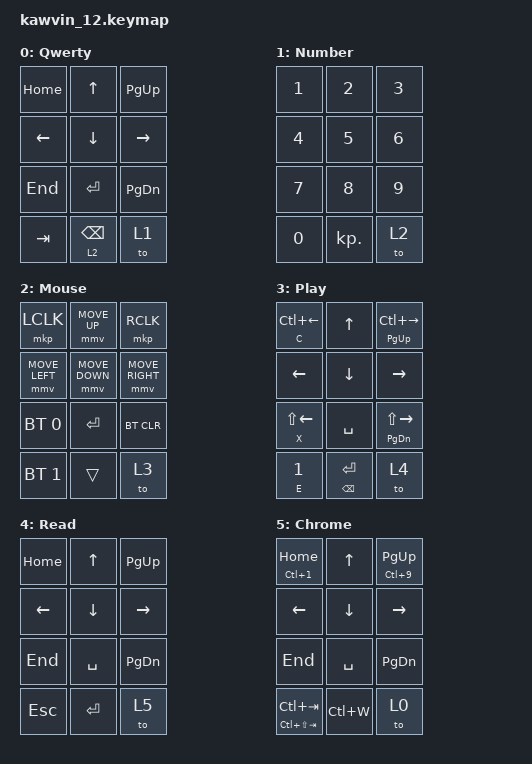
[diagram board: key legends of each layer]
/*
 * Copyright (c) 2023 The ZMK Contributors
 *
 * SPDX-License-Identifier: MIT
 */

#include <behaviors/mouse_keys.dtsi>
#include <behaviors.dtsi>
#include <dt-bindings/zmk/bt.h>
#include <dt-bindings/zmk/ext_power.h>
#include <dt-bindings/zmk/keys.h>
#include <dt-bindings/zmk/mouse.h>
#include <dt-bindings/zmk/outputs.h>
#include <dt-bindings/zmk/pointing.h>



// 鼠标灵敏度（只定义一次！）

#define ZMK_MOUSE_DEFAULT_MOVE_VAL 1200
#define ZMK_MOUSE_DEFAULT_SCRL_VAL 20

// 鼠标快捷宏（必须放在头文件之后！）

#define U_MS_U &mmv MOVE_UP
#define U_MS_D &mmv MOVE_DOWN
#define U_MS_L &mmv MOVE_LEFT
#define U_MS_R &mmv MOVE_RIGHT

/ {
    behaviors {
        hm: homerow_mods {
            compatible = "zmk,behavior-hold-tap";
            label = "HOMEROW_MODS";
            bindings = <&kp>, <&kp>;

            #binding-cells = <2>;
            tapping-term-ms = <200>;
            quick-tap-ms = <180>;
            flavor = "tap-preferred";
        };

        ltq: ltq {
            compatible = "zmk,behavior-hold-tap";
            label = "LTQ";
            bindings = <&mo>, <&kp>;

            #binding-cells = <2>;
            tapping-term-ms = <300>;
            quick-tap-ms = <180>;
            flavor = "tap-preferred";
        };
    };

    combos {
        compatible = "zmk,combos";

        // 同时按 0 + 1 → ESC

        esc_01 {
            bindings = <&kp ESC>;
            key-positions = <0 1>;
            timeout-ms = <200>;
        };

        // 同时按 1 + 2 → ESC

        esc_02 {
            bindings = <&kp ESC>;
            key-positions = <1 2>;
            timeout-ms = <200>;
        };

        // 在2、5层同时按 2 + 9 → bootloader
        flash {
            bindings = <&bootloader>;
            key-positions = <2 9>;
            timeout-ms = <200>;
            layers = <2 5>;
        };
    };

    macros {
        potplay_c5: potplay_c5 {
            compatible = "zmk,behavior-macro";
            #binding-cells = <0>;
            bindings = <&kp C &kp C &kp C &kp C &kp C>;
            label = "POTPLAY_C5";
        };

        potplay_x5: potplay_x5 {
            compatible = "zmk,behavior-macro";
            #binding-cells = <0>;
            bindings = <&kp X &kp X &kp X &kp X &kp X>;
            label = "POTPLAY_X5";
        };
    };

    keymap {
        compatible = "zmk,keymap";

        qwerty_layer {
            //  ---------------------------------------------------------------------------------
            //  |HOME|UP         |PG_UP|
            //  |LEFT|DOWN       |RIGHT|
            //  |END |ENTER      |PG_DN|
            //  |TAB |&ltq 2 BSPC|&to 1|

            bindings = <
                &kp HOME  &kp UP       &kp PG_UP  
                &kp LEFT  &kp DOWN     &kp RIGHT  
                &kp END   &kp ENTER    &kp PG_DN  
                &kp TAB   &ltq 2 BSPC  &to 1      
            >;

            label = "Qwerty";
        };

        number_layer {
            //  ---------------------------------------------------------------------------------
            //  |N1|N2 |N3   |
            //  |N4|N5 |N6   |
            //  |N7|N8 |N9   |
            //  |N0|DOT|&to 2|

            bindings = <
                &kp N1  &kp N2      &kp N3  
                &kp N4  &kp N5      &kp N6  
                &kp N7  &kp N8      &kp N9  
                &kp N0  &kp KP_DOT  &to 2   
            >;

            label = "Number";
        };

        mouse_layer {
            //  ---------------------------------------------------------------------------------
            //  |&mkp LCLK     |&mmv MOVE_UP  |&mkp RCLK      |
            //  |&mmv MOVE_LEFT|&mmv MOVE_DOWN|&mmv MOVE_RIGHT|
            //  |BT_SEL 0      |ENTER         |BT_CLR         |
            //  |BT_SEL 1      |              |&to 3          |

            bindings = <
                &mkp LCLK       &mmv MOVE_UP    &mkp RCLK        
                &mmv MOVE_LEFT  &mmv MOVE_DOWN  &mmv MOVE_RIGHT  
                &bt BT_SEL 0    &kp ENTER       &bt BT_CLR       
                &bt BT_SEL 1    &trans          &to 3            
            >;

            label = "Mouse";
        };

        play_layer {
            //  ---------------------------------------------------------------------------------
            //  |&mt C LC(LEFT)|UP                 |&mt PG_UP LC(RIGHT)|
            //  |LEFT          |DOWN               |RIGHT              |
            //  |&mt X LS(LEFT)|SPACE              |&mt PG_DN LS(RIGHT)|
            //  |&mt E N1      |&mt BACKSPACE ENTER|&to 4              |

            bindings = <
                &mt C LC(LEFT)  &kp UP               &mt PG_UP LC(RIGHT)  
                &kp LEFT        &kp DOWN             &kp RIGHT            
                &mt X LS(LEFT)  &kp SPACE            &mt PG_DN LS(RIGHT)  
                &mt E N1        &mt BACKSPACE ENTER  &to 4                
            >;

            label = "Play";
        };

        read_layer {
            //  ---------------------------------------------------------------------------------
            //  |HOME|UP   |PG_UP|
            //  |LEFT|DOWN |RIGHT|
            //  |END |SPACE|PG_DN|
            //  |ESC |ENTER|&to 5|


            bindings = <
                &kp HOME  &kp UP     &kp PG_UP  
                &kp LEFT  &kp DOWN   &kp RIGHT  
                &kp END   &kp SPACE  &kp PG_DN  
                &kp ESC   &kp ENTER  &to 5      
            >;

            label = "Read";
        };

        chrome_layer {
            //  ---------------------------------------------------------------------------------
            //  |&mt LC(N1) HOME        |UP   |&mt LC(N9) PG_UP|
            //  |LEFT                   |DOWN |RIGHT           |
            //  |END                    |SPACE|PG_DN           |
            //  |&mt LC(LS(TAB)) LC(TAB)|LC(W)|&to 0           |

            bindings = <
                &mt LC(N1) HOME          &kp UP     &mt LC(N9) PG_UP  
                &kp LEFT                 &kp DOWN   &kp RIGHT         
                &kp END                  &kp SPACE  &kp PG_DN         
                &mt LC(LS(TAB)) LC(TAB)  &kp LC(W)  &to 0             
             >;

            label = "Chrome";
        };
    };
};
